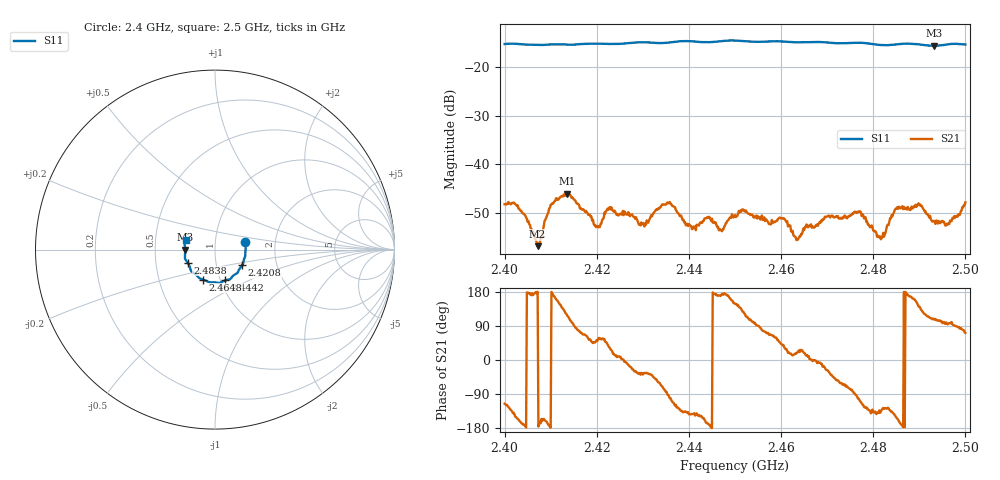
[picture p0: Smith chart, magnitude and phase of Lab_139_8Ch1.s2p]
# Hz S RI R 50
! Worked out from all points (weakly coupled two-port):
!   601 points, 2.4 GHz to 2.5 GHz, reference 50 ohm
!   highest |S21| = -45.99 dB at 2.4135 GHz (marker M1); lowest = -56.8 dB at 2.4072 GHz (marker M2)
!   lowest |S11| = -15.6 dB at 2.4932 GHz (marker M3), VSWR 1.40, Z = 35.8 - j0.0651 ohm
!   |S11| at or under -10 dB: start of sweep to end of sweep
!   S12 and S22 are empty: the file has one direction only
!   S11 on the Smith chart (normalised r, x): 2.4 GHz: 1.40, +0.12; 2.4208 GHz: 1.33, -0.24; 2.4442 GHz: 1.05, -0.37; 2.4648 GHz: 0.83, -0.29; 2.4838 GHz: 0.73, -0.11; 2.5 GHz: 0.72, +0.08
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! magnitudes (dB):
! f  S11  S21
! 2.4 GHz  -15.2  -48.2
! 2.4025 GHz  -15.2  -48.3
! 2.4072 GHz  -15.4  -56.8
! 2.4102 GHz  -15.3  -48.2
! 2.4135 GHz  -15.3  -46.0
! 2.4167 GHz  -15.2  -49.1
! 2.4208 GHz  -15.2  -52.2
! 2.4227 GHz  -15.2  -48.9
! 2.4298 GHz  -14.9  -52.3
! 2.4333 GHz  -15.0  -49.0
! 2.4442 GHz  -14.9  -51.0
! 2.447 GHz  -14.7  -53.5
! 2.45 GHz  -14.5  -50.4
! 2.4648 GHz  -14.9  -53.2
! 2.4667 GHz  -14.8  -53.0
! 2.4768 GHz  -15.0  -49.6
! 2.4813 GHz  -15.4  -55.0
! 2.4833 GHz  -15.5  -52.4
! 2.4838 GHz  -15.4  -51.1
! 2.49 GHz  -15.3  -48.4
! 2.4932 GHz  -15.6  -51.6
! 2.5 GHz  -15.3  -47.8
